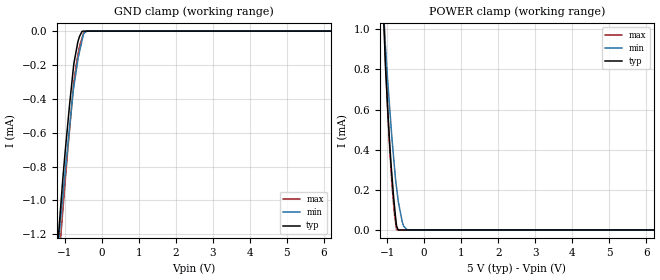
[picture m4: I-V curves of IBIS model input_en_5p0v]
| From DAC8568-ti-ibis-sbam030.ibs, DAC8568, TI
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|   INPUT_EN 5.0V Model
[Model]   input_en_5p0v
Model_type   Input
Vinl = 0.4
Vinh = 3.65
|   typ   min   max
|   (nom PVT)   (Fast PVT)  (Slow PVT)
C_comp   4.678e-13   4.324e-13   5.117e-13
|Where nom PVT is Nom process, 3.3V, 25C
|Fast PVT is Strong Process, 3.6V, -40C
|Slow PVT is Weak Process,   3.0V, 125C
[Model Spec]
Vinl   0.4   0.0   0.8
Vinh   3.65   1.8   5.5
[Voltage Range]   5   4.5   5.5
|Juntion temperatures are used in [Temperature Range]
[Temperature Range]   25   125   -40
[Power Clamp Reference]   5   4.5   5.5
[GND Clamp Reference]   0   0   0
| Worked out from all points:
|   GND clamp passes 1 mA (typ) near -1.09 V on its own axis
|   POWER clamp passes 1 mA (typ) near -1.08 V on its own axis
[GND Clamp]
|   Voltage   I(typ)   I(min)   I(max)
-5V       -13.07mA   -10.77mA   -15.7mA
-1.155V   -1.176mA   -1.225mA   -1.362mA
-1.079V   -959.1uA   -1.043mA   -1.144mA
-980mV    -701.4uA   -822.5uA   -876.8uA
-865mV    -433.4uA   -567.4uA   -581.6uA
-750mV    -191.8uA   -326.5uA   -301.4uA
-640mV    -62.78uA   -166.9uA   -140.5uA
-600mV    -32.95uA   -124.6uA   -92.68uA
-530mV    -2.023uA   -56.77uA   -41.2uA
-482mV    0A         -13.73uA   -10.27uA
-401mV    0A         0A         0A
10V       0A         0A         0A
[POWER Clamp]
|   Voltage   I(typ)   I(min)   I(max)
-5V       23.6mA     18.99mA    28.37mA
-1.205V   1.603mA    1.456mA    1.84mA
-1.071V   949.7uA    998.3uA    998.9uA
-1.045V   820uA      918.3uA    851.2uA
-990.5mV  625.8uA    762.3uA    619.7uA
-930mV    429.9uA    606.8uA    402.3uA
-869.5mV  270.3uA    457uA      226.6uA
-809mV    134.8uA    329.6uA    92.56uA
-745mV    20.49uA    210.9uA    1.43uA
-594.5mV  0A         42.58uA    0A
-451.5mV  0A         0A         0A
10V       0A         0A         0A
